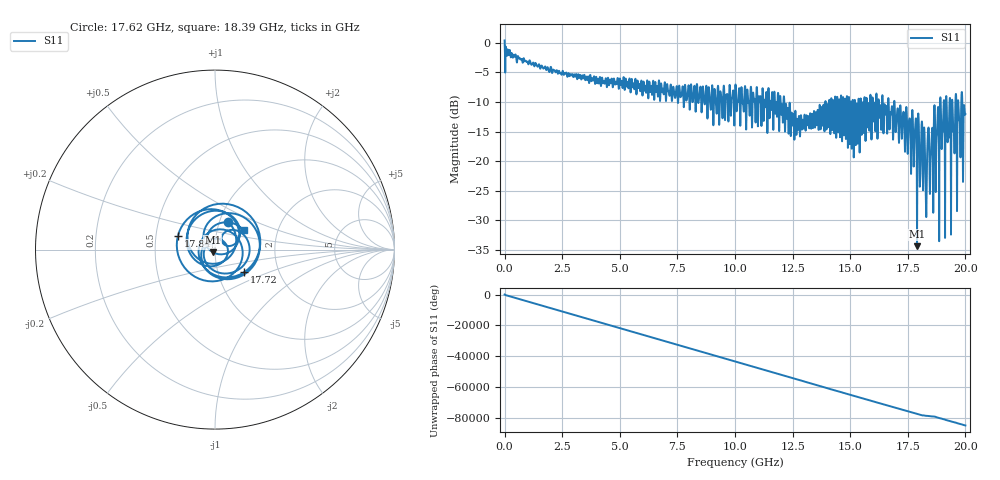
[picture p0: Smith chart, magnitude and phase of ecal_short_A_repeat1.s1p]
! MS46122B
! 2250307/22442219
! 7/21/2025 12:11:52 PM
! C:\USERS\SPARKY\DOCUMENTS\VNA_DATA\JULY21_2025\295K\ECAL_SHORT_A_REPEAT1.S1P
! CHANNEL.1
! TR.MEASUREMENT
! RAW.DATA
# GHZ S RI R 50.0
! FREQ.GHZ  S11RE  S11IM
!; PortSelection: Port_1
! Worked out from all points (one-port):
!   10001 points, 1 MHz to 20 GHz, reference 50 ohm
!   lowest |S11| = -34.3 dB at 17.9 GHz (marker M1), VSWR 1.04, Z = 48.8 - j1.43 ohm
!   |S11| at or under -10 dB: 12.14 GHz to 13.92 GHz (1.781 GHz wide, 13.7 % of centre); 16.67 GHz to 16.91 GHz (235.6 MHz wide, 1.4 % of centre); 16.92 GHz to 18.9 GHz (1.975 GHz wide, 11 % of centre) (the widest 3 of 73)
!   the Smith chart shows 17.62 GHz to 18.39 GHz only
!   S11 on the Smith chart (normalised r, x): 17.62 GHz: 1.10, +0.35; 17.72 GHz: 1.33, -0.35; 17.84 GHz: 0.65, +0.10; 18.39 GHz: 1.34, +0.30
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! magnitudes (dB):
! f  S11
! 1 MHz  0.4
! 2.501 GHz  -5.0
! 5.001 GHz  -6.0
! 7.501 GHz  -8.4
! 10 GHz  -8.3
! 11.79 GHz  -10.0
! 12.5 GHz  -13.9
! 15 GHz  -13.6
! 16.32 GHz  -10.8
! 17.5 GHz  -18.6
! 17.62 GHz  -15.3
! 17.72 GHz  -13.7
! 17.77 GHz  -18.0
! 17.84 GHz  -13.1
! 17.9 GHz  -34.3
! 17.98 GHz  -13.9
! 18.16 GHz  -24.9
! 18.24 GHz  -18.1
! 18.39 GHz  -14.3
! 18.73 GHz  -18.6
! 18.94 GHz  -12.3
! 18.99 GHz  -15.9
! 19.04 GHz  -12.5
! 19.25 GHz  -15.9
! 19.45 GHz  -12.4
! 19.51 GHz  -15.2
! 19.56 GHz  -11.5
! 20 GHz  -12.0
